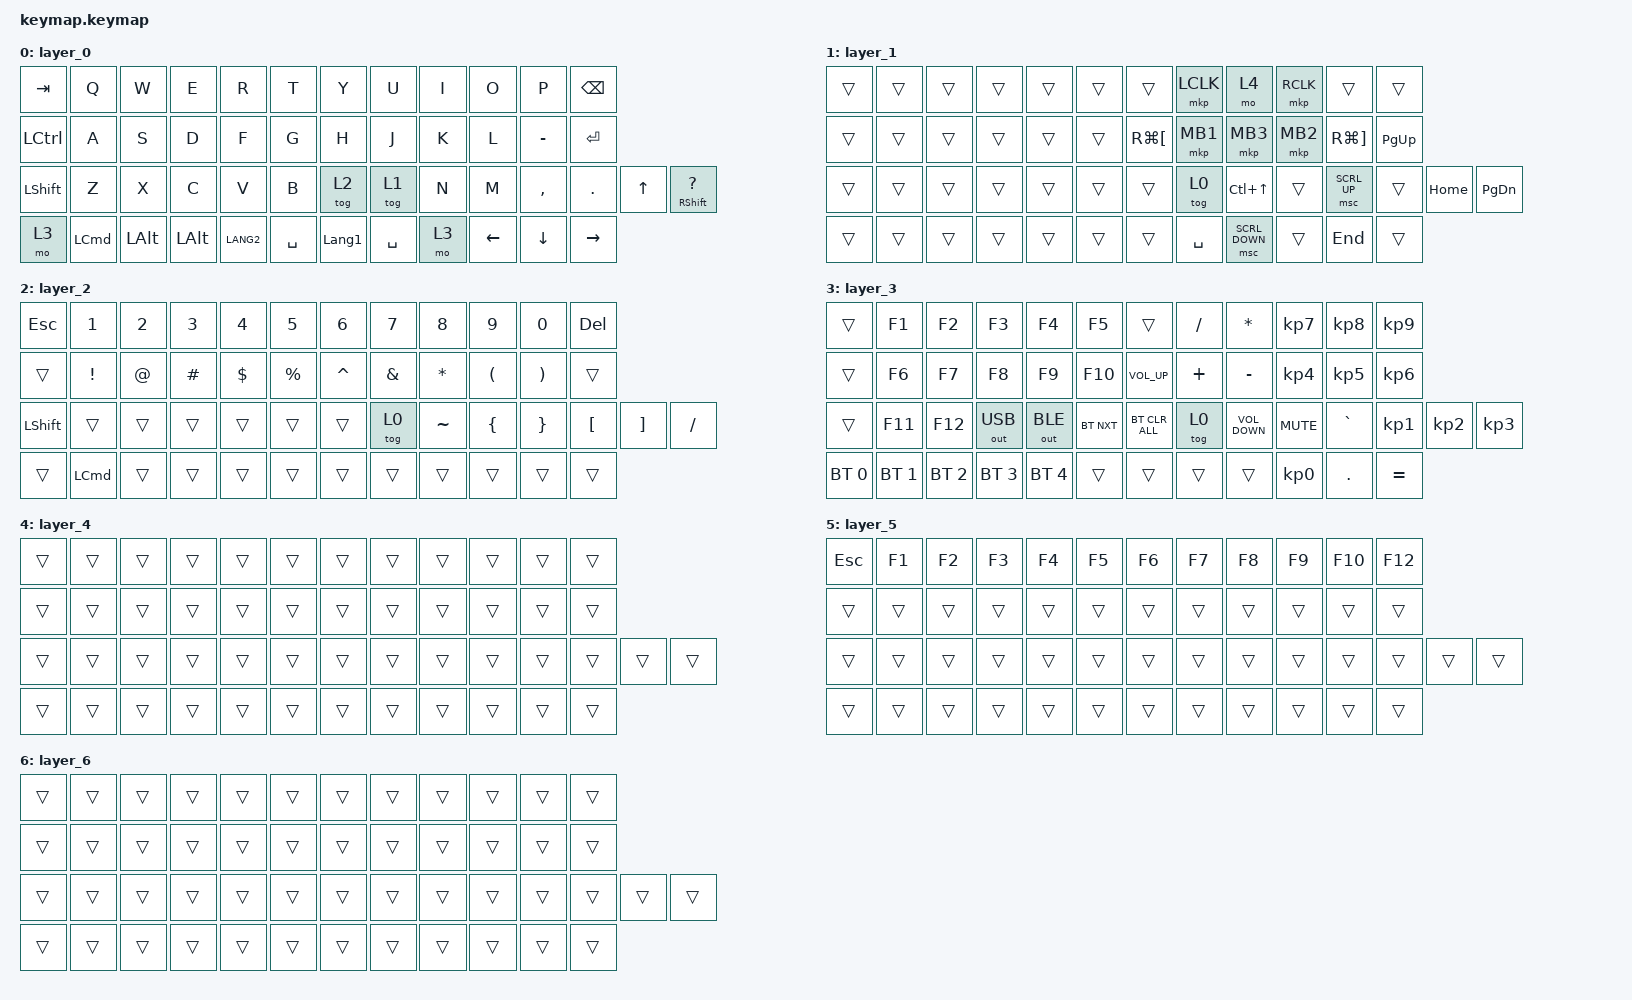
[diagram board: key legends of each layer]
#include <behaviors.dtsi>
#include <dt-bindings/zmk/bt.h>
#include <dt-bindings/zmk/keys.h>
#include <dt-bindings/zmk/outputs.h>
#include <dt-bindings/zmk/pointing.h>

/ {
    combos {
        compatible = "zmk,combos";

        bt_clear {
            bindings = <&bt BT_CLR>;
            key-positions = <28 29>;
            layers = <2>;
        };
    };

    keymap {
        compatible = "zmk,keymap";

        layer_0 {
            bindings = <
&kp TAB    &kp Q             &kp W         &kp E     &kp R      &kp T      &kp Y           &kp U      &kp I  &kp O           &kp P           &kp BSPC
&kp LCTRL  &kp A             &kp S         &kp D     &kp F      &kp G      &kp H           &kp J      &kp K  &kp L           &kp MINUS       &kp ENTER
&kp LSHFT  &kp Z             &kp X         &kp C     &kp V      &kp B      &tog 2          &tog 1     &kp N  &kp M           &kp COMMA       &kp DOT          &kp UP_ARROW  &mt RSHFT QUESTION
&mo 3      &kp LEFT_COMMAND  &kp LEFT_ALT  &kp LALT  &kp LANG2  &kp SPACE  &kp LANGUAGE_1  &kp SPACE  &mo 3  &kp LEFT_ARROW  &kp DOWN_ARROW  &kp RIGHT_ARROW
            >;
        };

        layer_1 {
            bindings = <
&trans  &trans  &trans  &trans  &trans  &trans  &trans                &mkp LCLK  &mo 4             &mkp RCLK  &trans                 &trans
&trans  &trans  &trans  &trans  &trans  &trans  &kp RG(LEFT_BRACKET)  &mkp MB1   &mkp MB3          &mkp MB2   &kp RG(RIGHT_BRACKET)  &kp PAGE_UP
&trans  &trans  &trans  &trans  &trans  &trans  &trans                &tog 0     &kp LC(UP_ARROW)  &trans     &msc SCRL_UP           &trans       &kp HOME  &kp PAGE_DOWN
&trans  &trans  &trans  &trans  &trans  &trans  &trans                &kp SPACE  &msc SCRL_DOWN    &trans     &kp END                &trans
            >;
        };

        layer_2 {
            bindings = <
&kp ESCAPE      &kp N1            &kp N2  &kp N3    &kp N4      &kp N5     &kp N6     &kp N7         &kp N8     &kp N9                &kp N0                 &kp DELETE
&trans          &kp EXCL          &kp AT  &kp HASH  &kp DOLLAR  &kp PRCNT  &kp CARET  &kp AMPERSAND  &kp ASTRK  &kp LEFT_PARENTHESIS  &kp RIGHT_PARENTHESIS  &trans
&kp LEFT_SHIFT  &trans            &trans  &trans    &trans      &trans     &trans     &tog 0         &kp TILDE  &kp LEFT_BRACE        &kp RIGHT_BRACE        &kp LEFT_BRACKET  &kp RIGHT_BRACKET  &kp SLASH
&trans          &kp LEFT_COMMAND  &trans  &trans    &trans      &trans     &trans     &trans         &trans     &trans                &trans                 &trans
            >;
        };

        layer_3 {
            bindings = <
&trans        &kp F1        &kp F2        &kp F3        &kp F4        &kp F5      &trans           &kp FSLH  &kp ASTRK          &kp KP_NUMBER_7  &kp KP_NUMBER_8  &kp KP_NUMBER_9
&trans        &kp F6        &kp F7        &kp F8        &kp F9        &kp F10     &kp C_VOLUME_UP  &kp PLUS  &kp MINUS          &kp KP_NUMBER_4  &kp KP_NUMBER_5  &kp KP_NUMBER_6
&trans        &kp F11       &kp F12       &out OUT_USB  &out OUT_BLE  &bt BT_NXT  &bt BT_CLR_ALL   &tog 0    &kp C_VOLUME_DOWN  &kp C_MUTE       &kp GRAVE        &kp KP_NUMBER_1  &kp KP_NUMBER_2  &kp KP_NUMBER_3
&bt BT_SEL 0  &bt BT_SEL 1  &bt BT_SEL 2  &bt BT_SEL 3  &bt BT_SEL 4  &trans      &trans           &trans    &trans             &kp KP_NUMBER_0  &kp DOT          &kp EQUAL
            >;
        };

        layer_4 {
            bindings = <
&trans  &trans  &trans  &trans  &trans  &trans  &trans  &trans  &trans  &trans  &trans  &trans
&trans  &trans  &trans  &trans  &trans  &trans  &trans  &trans  &trans  &trans  &trans  &trans
&trans  &trans  &trans  &trans  &trans  &trans  &trans  &trans  &trans  &trans  &trans  &trans  &trans  &trans
&trans  &trans  &trans  &trans  &trans  &trans  &trans  &trans  &trans  &trans  &trans  &trans
            >;
        };

        layer_5 {
            bindings = <
&kp ESC  &kp F1  &kp F2  &kp F3  &kp F4  &kp F5  &kp F6  &kp F7  &kp F8  &kp F9  &kp F10  &kp F12
&trans   &trans  &trans  &trans  &trans  &trans  &trans  &trans  &trans  &trans  &trans   &trans
&trans   &trans  &trans  &trans  &trans  &trans  &trans  &trans  &trans  &trans  &trans   &trans   &trans  &trans
&trans   &trans  &trans  &trans  &trans  &trans  &trans  &trans  &trans  &trans  &trans   &trans
            >;
        };

        layer_6 {
            bindings = <
&trans  &trans  &trans  &trans  &trans  &trans  &trans  &trans  &trans  &trans  &trans  &trans
&trans  &trans  &trans  &trans  &trans  &trans  &trans  &trans  &trans  &trans  &trans  &trans
&trans  &trans  &trans  &trans  &trans  &trans  &trans  &trans  &trans  &trans  &trans  &trans  &trans  &trans
&trans  &trans  &trans  &trans  &trans  &trans  &trans  &trans  &trans  &trans  &trans  &trans
            >;
        };
    };
};
